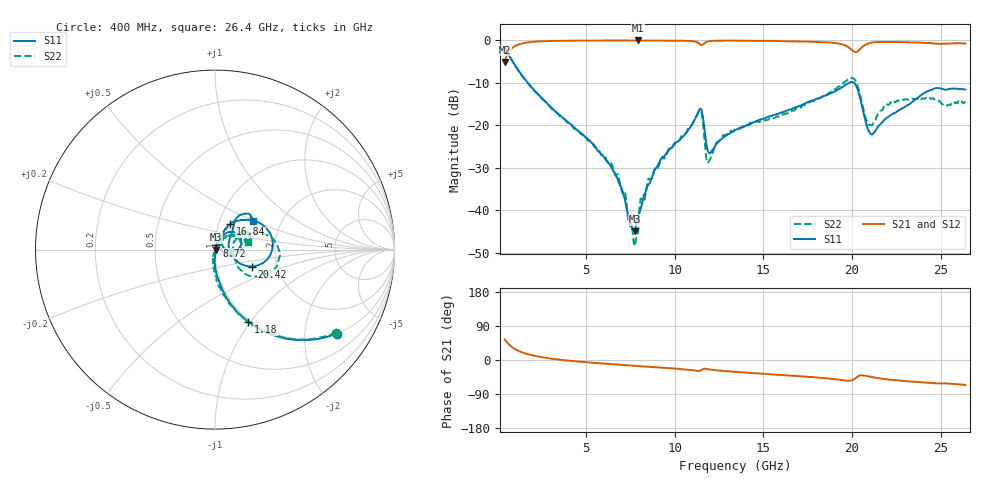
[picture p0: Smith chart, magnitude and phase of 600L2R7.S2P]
!  American Technical Ceramics  Date:  10/27/06
!  One Norden Lane
!  Huntington Station,  NY.  11746-2102
!  Tel:  (631) 622-4700  Fax:  (631) 622-4748
!  Part Number  600L2R7		Mounting Orientation:  Horizontal
!  Description: Ultra Low ESR Microwave capacitors
!  Application: Coupling, Bypass, Tuning, DC Block
!  Filters, Matching
# GHZ S DB R 50
! Freq  |S11|  S11 Ph  |S21|  S21 Ph  |S12|  S12 Ph  |S22|  S22 Ph
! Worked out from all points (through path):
!   401 points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, 400 MHz to 26.4 GHz, reference 50 ohm
!   highest |S21| = -0.01 dB at 7.94 GHz (marker M1); lowest = -5.0 dB at 400 MHz (marker M2)
!   group delay of S21, straight-line fit = 8.73 ps
!   lowest |S11| = -44.9 dB at 7.745 GHz (marker M3), VSWR 1.01, Z = 50.6 + j0.0487 ohm
!   |S11| at or under -10 dB: 1.714 GHz to 19.83 GHz (18.11 GHz wide, 168 % of centre); 20.12 GHz to end of sweep
!   |S22| runs from -48.4 to -1.7 dB; largest |S21 - S12| = 0.016
!   S11 on the Smith chart (normalised r, x): 400 MHz: 0.99, -2.90; 1.18 GHz: 0.97, -0.97; 8.72 GHz: 1.01, +0.05; 16.84 GHz: 1.13, +0.33; 20.42 GHz: 1.48, -0.29; 26.4 GHz: 1.44, +0.49
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0.4  -1.68 -34.7  -5.05 54.7  -5.10 54.7  -1.73 -34.6
1.18  -7.08 -65.3  -0.97 24.1  -1.01 24.1  -7.16 -65.4
2.35  -12.93 -79.7  -0.23 8.7  -0.26 8.8  -13.09 -81.7
4.755  -21.94 -90.1  -0.05 -5.0  -0.06 -4.7  -22.17 -98.2
6.77  -32.52 -85.9  -0.03 -12.3  -0.01 -11.9  -31.39 -107.5
7.55  -43.42 -41.0  -0.03 -14.8  -0.01 -14.4  -43.12 -104.1
7.745  -44.88 4.8  -0.03 -15.4  -0.01 -15.1  -48.40 28.2
7.94  -41.50 29.7  -0.01 -16.1  -0.01 -15.7  -44.99 33.1
8.135  -38.81 58.4  -0.03 -16.9  -0.01 -16.5  -37.37 43.5
8.72  -32.18 71.8  -0.05 -18.5  0.00 -18.1  -32.25 37.5
9.11  -28.87 70.3  -0.05 -19.8  0.00 -19.4  -29.43 47.2
11.385  -16.35 35.8  -0.74 -29.0  -0.71 -29.1  -16.65 21.7
11.905  -26.35 16.1  -0.21 -24.5  -0.18 -24.5  -28.59 22.4
13.4  -21.12 62.0  -0.06 -31.2  -0.02 -31.2  -20.88 51.3
16.845  -15.71 59.5  -0.24 -42.1  -0.18 -42.4  -15.99 32.8
17.755  -14.14 53.9  -0.30 -45.1  -0.24 -45.5  -14.25 28.8
19.9  -9.85 14.6  -1.91 -54.6  -1.86 -55.2  -8.89 -1.8
20.42  -12.93 -24.7  -2.20 -41.3  -2.15 -41.9  -12.24 -37.1
21.07  -22.05 5.1  -0.55 -44.4  -0.50 -45.1  -19.89 3.6
22.11  -17.79 43.3  -0.36 -51.7  -0.32 -52.4  -15.04 31.0
24.645  -11.35 47.6  -0.72 -61.5  -0.69 -62.4  -13.90 17.8
26.4  -11.55 37.1  -0.73 -65.8  -0.71 -66.8  -14.39 13.3
